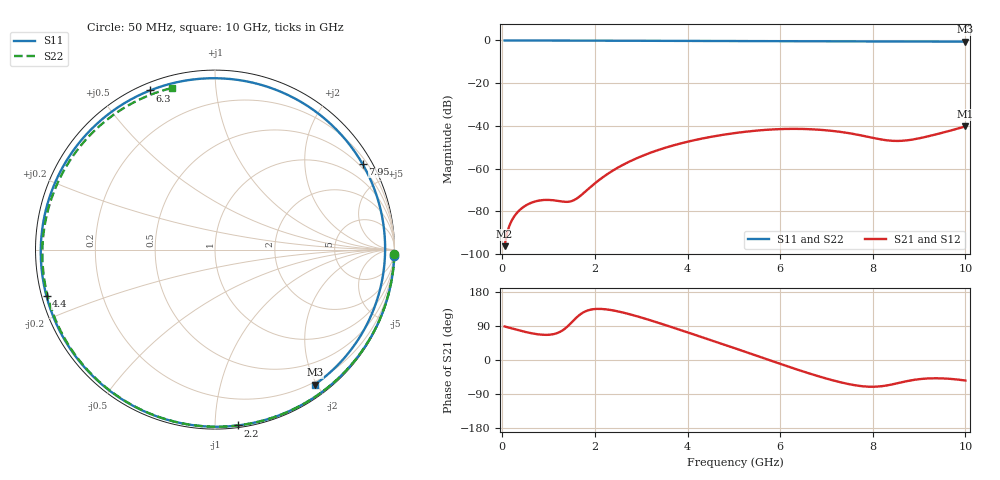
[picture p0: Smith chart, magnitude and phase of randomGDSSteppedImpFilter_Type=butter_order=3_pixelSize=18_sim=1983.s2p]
! freq	dB(S11)	phase(S11)	dB(S12)	phase(S12)
!  dB(S21)	phase(S21)	dB(S22)	phase(S22)
!S-par simulation data
#  GHz  S  DB  R 50
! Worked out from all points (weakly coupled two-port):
!   200 points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, 50 MHz to 10 GHz, reference 50 ohm
!   highest |S21| = -40.22 dB at 10 GHz (marker M1); lowest = -96.3 dB at 50 MHz (marker M2)
!   lowest |S11| = -0.6 dB at 10 GHz (marker M3), VSWR 29.82, Z = 8.24 - j98.7 ohm
!   |S11| at or under -10 dB: nowhere
!   |S22| runs from -0.6 to 0.0 dB; largest |S21 - S12| = 0
!   S11 on the Smith chart (normalised r, x): 50 MHz: 1, -59; 2.2 GHz: 0.01, -1.14; 4.4 GHz: 0.01, -0.14; 6.3 GHz: 0.03, +0.67; 7.95 GHz: 0.38, +3.70; 10 GHz: 0.16, -1.97
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0.05  -0.00 -1.9  -96.26 88.5  -96.26 88.5  -0.00 -1.5
0.35  -0.02 -13.4  -79.89 78.5  -79.89 78.5  -0.01 -10.3
0.55  -0.02 -21.1  -76.70 72.6  -76.70 72.6  -0.02 -16.1
0.85  -0.04 -32.5  -74.74 66.8  -74.74 66.8  -0.03 -24.8
1.45  -0.07 -55.0  -75.41 93.4  -75.41 93.4  -0.05 -41.9
1.75  -0.08 -66.1  -71.55 125.6  -71.55 125.6  -0.06 -50.2
2.2  -0.10 -82.7  -63.57 134.2  -63.57 134.2  -0.08 -62.5
2.8  -0.13 -104.6  -56.12 119.1  -56.12 119.1  -0.10 -78.3
3.4  -0.16 -126.6  -51.03 97.0  -51.03 97.0  -0.12 -93.5
3.9  -0.19 -145.2  -47.92 77.0  -47.92 77.0  -0.14 -105.7
4.4  -0.23 -164.5  -45.53 56.6  -45.53 56.6  -0.16 -117.6
5.05  -0.28 169.0  -43.25 29.8  -43.25 29.8  -0.19 -132.7
5.65  -0.33 142.8  -41.89 4.7  -41.89 4.7  -0.23 -146.4
6.3  -0.38 112.2  -41.37 -22.4  -41.37 -22.4  -0.27 -161.3
6.7  -0.40 92.4  -41.59 -38.2  -41.59 -38.2  -0.30 -170.4
7  -0.41 77.3  -42.05 -49.0  -42.05 -49.0  -0.33 -177.4
7.3  -0.42 62.1  -42.78 -58.7  -42.78 -58.7  -0.35 175.6
7.95  -0.44 30.0  -45.33 -70.6  -45.33 -70.6  -0.41 159.9
8.35  -0.45 11.2  -46.83 -66.1  -46.83 -66.1  -0.45 149.9
9.05  -0.49 -18.8  -45.57 -50.0  -45.57 -50.0  -0.52 131.6
9.55  -0.53 -37.9  -42.92 -48.8  -42.92 -48.8  -0.57 117.8
10  -0.58 -53.5  -40.22 -54.3  -40.22 -54.3  -0.61 104.9
